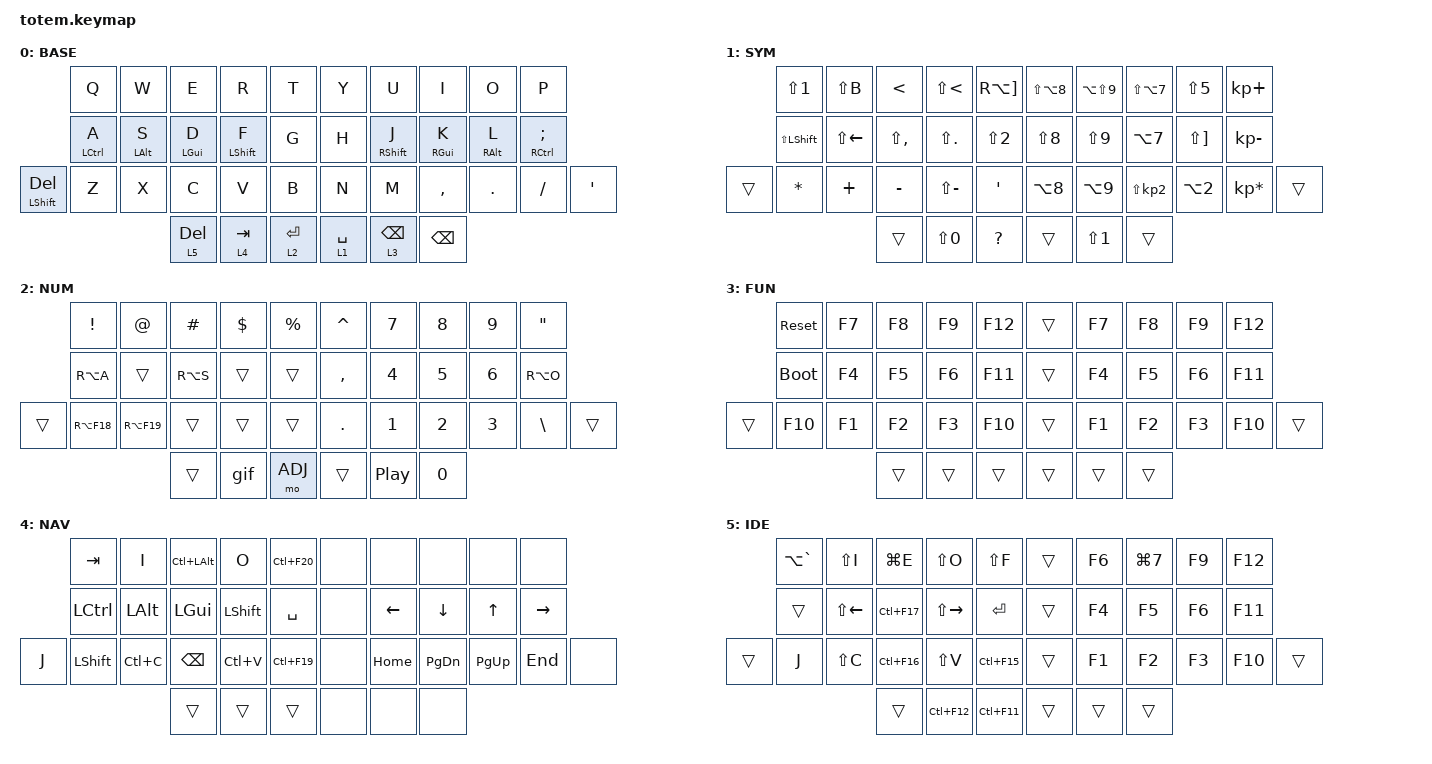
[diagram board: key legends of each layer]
//
//                                                        ▀▀▀▀▀     ▀▀▀▀▀          ▀▀█▀▀
//                                                        ▄▀▀▀▄  ▄  ▄▀▀▀▄  ▄  ▄▀▀▀▄  █  ▄▀▀▀▄
//                                                        █   █  █  █   █  █  █   █  █  █   █
//                                                         ▀▀▀   █   ▀▀▀   █   ▀▀▀   ▀   ▀▀▀
//                                                               █      ▄▄▄█▄▄▄    █   █  
//                                                               ▀      █  █  █     █▄█
//                                                             ▀▀▀▀▀    █  █  █      ▀
//                                                                      ▀  ▀  ▀
//
// ▄▄▄▄▄▄▄▄▄▄▄▄▄▄▄▄▄▄▄▄▄▄▄▄▄▄▄▄▄▄▄▄▄▄▄▄▄▄▄▄▄▄▄▄▄▄▄▄▄▄▄▄▄▄▄▄▄▄▄▄▄▄▄▄▄▄▄▄▄▄▄▄▄▄▄▄▄▄▄▄▄▄▄▄▄▄▄▄▄▄▄▄▄▄▄▄▄▄▄▄▄▄▄▄▄▄▄▄▄▄▄▄▄▄▄▄▄▄▄▄▄▄▄▄▄▄▄▄▄▄▄▄▄▄▄▄▄▄▄▄▄▄▄▄▄▄▄▄▄

#include <behaviors.dtsi>
#include <dt-bindings/zmk/keys.h>

#define BASE 0
#define NAV  1
#define SYM  2
#define ADJ  3
#define TVP1 4
#define TVP2 5

&mt {
    quick-tap-ms = <100>;
    global-quick-tap;
    flavor = "tap-preferred";
    tapping-term-ms = <170>;
};

/ {
    combos {
        compatible = "zmk,combos";

        combo_esc {
            timeout-ms = <50>;
            key-positions = <1 3 2>;
            bindings = <&kp ESC>;
        };

        combo_tvp {
            timeout-ms = <100>;
            key-positions = <11 12 13 27 26>;
            bindings = <&kp ENTER>;
        };
    };

    macros {
        gif: gif {
            label = "giphy";
            compatible = "zmk,behavior-macro";
            #binding-cells = <0>;
            bindings =
                <&macro_press>,
                <&kp LSHFT>,
                <&macro_tap>,
                <&kp N2>,
                <&macro_release>,
                <&kp LSHFT>,
                <&macro_tap>,
                <&kp G &kp I &kp F>;
        };
    };

    keymap {
        compatible = "zmk,keymap";

        // ▄▄▄▄▄▄▄▄▄▄▄▄▄▄▄▄▄▄▄▄▄▄▄▄▄▄▄▄▄▄▄▄▄▄▄▄▄▄▄▄▄▄▄▄▄▄▄▄▄▄▄▄▄▄▄▄▄▄▄▄▄▄▄▄▄▄▄▄▄▄▄▄▄▄▄▄▄▄▄▄▄▄▄▄▄▄▄▄▄▄▄▄▄▄▄▄▄▄▄▄▄▄▄▄▄▄▄▄▄▄▄▄▄▄▄▄▄▄▄▄▄▄▄▄▄▄▄▄▄▄▄▄▄▄▄▄▄▄▄▄▄▄▄▄▄▄▄▄▄

        base_layer {
            // ┏━━━━━━━━━━━━━━━━━━━━━━━━━━━━━━━━━━━━━━━┓

            label = "BASE";

            // ┗━━━━━━━━━━━━━━━━━━━━━━━━━━━━━━━━━━━━━━━┛
            //             ┏━━━━━━━━━━━┳━━━━━━━━━━━┳━━━━━━━━━━━┳━━━━━━━━━━━┳━━━━━━━━━━━┓   ┏━━━━━━━━━━━┳━━━━━━━━━━━┳━━━━━━━━━━━┳━━━━━━━━━━━┳━━━━━━━━━━━┓
            //             ┃     Q     ┃     W     ┃     F     ┃     P     ┃     G     ┃   ┃     J     ┃     L     ┃     U     ┃     Y     ┃     ;     ┃
            //             ┣━━━━━━━━━━━╋━━━━━━━━━━━╋━━━━━━━━━━━╋━━━━━━━━━━━╋━━━━━━━━━━━┫   ┣━━━━━━━━━━━╋━━━━━━━━━━━╋━━━━━━━━━━━╋━━━━━━━━━━━╋━━━━━━━━━━━┫
            //             ┃     A     ┃     R     ┃     S     ┃     T     ┃     D     ┃   ┃     H     ┃     N     ┃     E     ┃     I     ┃     O     ┃
            // ┏━━━━━━━━━━━╋━━━━━━━━━━━╋━━━━━━━━━━━╋━━━━━━━━━━━╋━━━━━━━━━━━╋━━━━━━━━━━━┫   ┣━━━━━━━━━━━╋━━━━━━━━━━━╋━━━━━━━━━━━╋━━━━━━━━━━━╋━━━━━━━━━━━╋━━━━━━━━━━━┓
            // ┃     Q     ┃     Z     ┃     X     ┃     C     ┃     V     ┃     B     ┃   ┃     K     ┃     M     ┃     ,     ┃     .     ┃     /     ┃     \     ┃
            // ┗━━━━━━━━━━━┻━━━━━━━━━━━┻━━━━━━━━━━━╋━━━━━━━━━━━╋━━━━━━━━━━━╋━━━━━━━━━━━┫   ┣━━━━━━━━━━━╋━━━━━━━━━━━╋━━━━━━━━━━━╋━━━━━━━━━━━┻━━━━━━━━━━━┻━━━━━━━━━━━┛
            //                                     ┃    DEL    ┃    TAB    ┃    SPC    ┃   ┃   ENTER   ┃           ┃   BSPC    ┃
            //                                     ┗━━━━━━━━━━━┻━━━━━━━━━━━┻━━━━━━━━━━━┛   ┗━━━━━━━━━━━┻━━━━━━━━━━━┻━━━━━━━━━━━┛

            bindings = <
                       &kp Q        &kp W       &kp E           &kp R        &kp T          &kp Y        &kp U            &kp I            &kp O       &kp P
                       &mt LCTRL A  &mt LALT S  &mt LEFT_GUI D  &mt LSHFT F  &kp G          &kp H        &mt RSHFT J      &mt RIGHT_GUI K  &mt RALT L  &mt RCTRL SEMI
&mt LEFT_SHIFT DELETE  &kp Z        &kp X       &kp C           &kp V        &kp B          &kp N        &kp M            &kp COMMA        &kp DOT     &kp FSLH        &kp APOSTROPHE
                                                &lt 5 DELETE    &lt 4 TAB    &lt 2 ENTER    &lt 1 SPACE  &lt 3 BACKSPACE  &kp BSPC
            >;
        };

        // ▄▄▄▄▄▄▄▄▄▄▄▄▄▄▄▄▄▄▄▄▄▄▄▄▄▄▄▄▄▄▄▄▄▄▄▄▄▄▄▄▄▄▄▄▄▄▄▄▄▄▄▄▄▄▄▄▄▄▄▄▄▄▄▄▄▄▄▄▄▄▄▄▄▄▄▄▄▄▄▄▄▄▄▄▄▄▄▄▄▄▄▄▄▄▄▄▄▄▄▄▄▄▄▄▄▄▄▄▄▄▄▄▄▄▄▄▄▄▄▄▄▄▄▄▄▄▄▄▄▄▄▄▄▄▄▄▄▄▄▄▄▄▄▄▄▄▄▄▄

        sym {
            // ┏━━━━━━━━━━━━━━━━━━━━━━━━━━━━━━━━━━━━━━━┓

            label = "SYM";

            // ┗━━━━━━━━━━━━━━━━━━━━━━━━━━━━━━━━━━━━━━━┛
            //             ┏━━━━━━━━━━━┳━━━━━━━━━━━┳━━━━━━━━━━━┳━━━━━━━━━━━┳━━━━━━━━━━━┓   ┏━━━━━━━━━━━┳━━━━━━━━━━━┳━━━━━━━━━━━┳━━━━━━━━━━━┳━━━━━━━━━━━┓
            //             ┃           ┃           ┃     UP    ┃           ┃     {     ┃   ┃     }     ┃     7     ┃     8     ┃     9     ┃     +     ┃
            //             ┣━━━━━━━━━━━╋━━━━━━━━━━━╋━━━━━━━━━━━╋━━━━━━━━━━━╋━━━━━━━━━━━┫   ┣━━━━━━━━━━━╋━━━━━━━━━━━╋━━━━━━━━━━━╋━━━━━━━━━━━╋━━━━━━━━━━━┫
            //             ┃   SHIFT   ┃   LEFT    ┃    DOWN   ┃   RIGHT   ┃     [     ┃   ┃     ]     ┃     4     ┃     5     ┃     6     ┃     -     ┃
            // ┏━━━━━━━━━━━╋━━━━━━━━━━━╋━━━━━━━━━━━╋━━━━━━━━━━━╋━━━━━━━━━━━╋━━━━━━━━━━━┫   ┣━━━━━━━━━━━╋━━━━━━━━━━━╋━━━━━━━━━━━╋━━━━━━━━━━━╋━━━━━━━━━━━╋━━━━━━━━━━━┓
            // ┃           ┃           ┃   P UP    ┃  C LOCK   ┃  P DOWN   ┃     (     ┃   ┃     )     ┃     1     ┃     2     ┃     3     ┃     *     ┃           ┃
            // ┗━━━━━━━━━━━┻━━━━━━━━━━━┻━━━━━━━━━━━╋━━━━━━━━━━━╋━━━━━━━━━━━╋━━━━━━━━━━━┫   ┣━━━━━━━━━━━╋━━━━━━━━━━━╋━━━━━━━━━━━╋━━━━━━━━━━━┻━━━━━━━━━━━┻━━━━━━━━━━━┛
            //                                     ┃           ┃    TAB    ┃    SPC    ┃   ┃    DEL    ┃     0     ┃           ┃
            //                                     ┗━━━━━━━━━━━┻━━━━━━━━━━━┻━━━━━━━━━━━┛   ┗━━━━━━━━━━━┻━━━━━━━━━━━┻━━━━━━━━━━━┛

            bindings = <
        &kp LS(NUMBER_1)  &kp LS(B)     &kp LESS_THAN  &kp LS(LESS_THAN)  &kp RA(RIGHT_BRACKET)    &kp LS(LA(NUMBER_8))  &kp LA(LS(N9))    &kp LS(LA(N7))  &kp LS(N5)             &kp KP_PLUS
        &kp LS(LSHFT)     &kp LS(LEFT)  &kp LS(COMMA)  &kp LS(PERIOD)     &kp LS(NUMBER_2)         &kp LS(N8)            &kp LS(N9)        &kp LA(N7)      &kp LS(RIGHT_BRACKET)  &kp KP_MINUS
&trans  &kp STAR          &kp PLUS      &kp MINUS      &kp LS(MINUS)      &kp SQT                  &kp LA(N8)            &kp LA(N9)        &kp LS(KP_N2)   &kp LA(NUMBER_2)       &kp KP_MULTIPLY  &trans
                                        &trans         &kp LS(NUMBER_0)   &kp QMARK                &trans                &kp LS(NUMBER_1)  &trans
            >;
        };

        // ▄▄▄▄▄▄▄▄▄▄▄▄▄▄▄▄▄▄▄▄▄▄▄▄▄▄▄▄▄▄▄▄▄▄▄▄▄▄▄▄▄▄▄▄▄▄▄▄▄▄▄▄▄▄▄▄▄▄▄▄▄▄▄▄▄▄▄▄▄▄▄▄▄▄▄▄▄▄▄▄▄▄▄▄▄▄▄▄▄▄▄▄▄▄▄▄▄▄▄▄▄▄▄▄▄▄▄▄▄▄▄▄▄▄▄▄▄▄▄▄▄▄▄▄▄▄▄▄▄▄▄▄▄▄▄▄▄▄▄▄▄▄▄▄▄▄▄▄▄

        num {
            // ┏━━━━━━━━━━━━━━━━━━━━━━━━━━━━━━━━━━━━━━━┓

            label = "NUM";

            // ┗━━━━━━━━━━━━━━━━━━━━━━━━━━━━━━━━━━━━━━━┛
            //             ┏━━━━━━━━━━━┳━━━━━━━━━━━┳━━━━━━━━━━━┳━━━━━━━━━━━┳━━━━━━━━━━━┓   ┏━━━━━━━━━━━┳━━━━━━━━━━━┳━━━━━━━━━━━┳━━━━━━━━━━━┳━━━━━━━━━━━┓
            //             ┃     !     ┃     @     ┃     #     ┃     $     ┃     %     ┃   ┃     ˆ     ┃     &     ┃     Ü     ┃     '     ┃     "     ┃
            //             ┣━━━━━━━━━━━╋━━━━━━━━━━━╋━━━━━━━━━━━╋━━━━━━━━━━━╋━━━━━━━━━━━┫   ┣━━━━━━━━━━━╋━━━━━━━━━━━╋━━━━━━━━━━━╋━━━━━━━━━━━╋━━━━━━━━━━━┫
            //             ┃     Ä     ┃           ┃    SZ     ┃           ┃           ┃   ┃   MUTE    ┃   YEN     ┃   EURO    ┃  POUND    ┃     Ö     ┃
            // ┏━━━━━━━━━━━╋━━━━━━━━━━━╋━━━━━━━━━━━╋━━━━━━━━━━━╋━━━━━━━━━━━╋━━━━━━━━━━━┫   ┣━━━━━━━━━━━╋━━━━━━━━━━━╋━━━━━━━━━━━╋━━━━━━━━━━━╋━━━━━━━━━━━╋━━━━━━━━━━━┓
            // ┃           ┃  EMAIL1   ┃  EMAIL2   ┃           ┃           ┃           ┃   ┃   VOL-    ┃   VOL+    ┃   LAST    ┃   NEXT    ┃     \     ┃           ┃
            // ┗━━━━━━━━━━━┻━━━━━━━━━━━┻━━━━━━━━━━━╋━━━━━━━━━━━╋━━━━━━━━━━━╋━━━━━━━━━━━┫   ┣━━━━━━━━━━━╋━━━━━━━━━━━╋━━━━━━━━━━━╋━━━━━━━━━━━┻━━━━━━━━━━━┻━━━━━━━━━━━┛
            //                                     ┃           ┃    GIF    ┃    ADJ    ┃   ┃           ┃           ┃           ┃
            //                                     ┗━━━━━━━━━━━┻━━━━━━━━━━━┻━━━━━━━━━━━┛   ┗━━━━━━━━━━━┻━━━━━━━━━━━┻━━━━━━━━━━━┛

            bindings = <
        &kp EXCL     &kp AT       &kp HASH   &kp DLLR  &kp PRCNT    &kp CARET   &kp NUMBER_7  &kp NUMBER_8  &kp N9        &kp DQT
        &kp RA(A)    &trans       &kp RA(S)  &trans    &trans       &kp COMMA   &kp NUMBER_4  &kp NUMBER_5  &kp NUMBER_6  &kp RA(O)
&trans  &kp RA(F18)  &kp RA(F19)  &trans     &trans    &trans       &kp PERIOD  &kp NUMBER_1  &kp NUMBER_2  &kp NUMBER_3  &kp BSLH   &trans
                                  &trans     &gif      &mo ADJ      &trans      &kp C_PP      &kp NUMBER_0
            >;
        };

        // ▄▄▄▄▄▄▄▄▄▄▄▄▄▄▄▄▄▄▄▄▄▄▄▄▄▄▄▄▄▄▄▄▄▄▄▄▄▄▄▄▄▄▄▄▄▄▄▄▄▄▄▄▄▄▄▄▄▄▄▄▄▄▄▄▄▄▄▄▄▄▄▄▄▄▄▄▄▄▄▄▄▄▄▄▄▄▄▄▄▄▄▄▄▄▄▄▄▄▄▄▄▄▄▄▄▄▄▄▄▄▄▄▄▄▄▄▄▄▄▄▄▄▄▄▄▄▄▄▄▄▄▄▄▄▄▄▄▄▄▄▄▄▄▄▄▄▄▄▄

        fun {
            // ┏━━━━━━━━━━━━━━━━━━━━━━━━━━━━━━━━━━━━━━━┓

            label = "FUN";

            // ┗━━━━━━━━━━━━━━━━━━━━━━━━━━━━━━━━━━━━━━━┛
            //             ┏━━━━━━━━━━━┳━━━━━━━━━━━┳━━━━━━━━━━━┳━━━━━━━━━━━┳━━━━━━━━━━━┓   ┏━━━━━━━━━━━┳━━━━━━━━━━━┳━━━━━━━━━━━┳━━━━━━━━━━━┳━━━━━━━━━━━┓
            //             ┃   RESET   ┃ BT CLEAR  ┃  OUT TOG  ┃           ┃           ┃   ┃           ┃    F7     ┃    F8     ┃    F9     ┃    F12    ┃
            //             ┣━━━━━━━━━━━╋━━━━━━━━━━━╋━━━━━━━━━━━╋━━━━━━━━━━━╋━━━━━━━━━━━┫   ┣━━━━━━━━━━━╋━━━━━━━━━━━╋━━━━━━━━━━━╋━━━━━━━━━━━╋━━━━━━━━━━━┫
            //             ┃ BOOTLOAD  ┃ BT NEXT   ┃           ┃           ┃           ┃   ┃           ┃    F4     ┃    F5     ┃    F6     ┃    F11    ┃
            // ┏━━━━━━━━━━━╋━━━━━━━━━━━╋━━━━━━━━━━━╋━━━━━━━━━━━╋━━━━━━━━━━━╋━━━━━━━━━━━┫   ┣━━━━━━━━━━━╋━━━━━━━━━━━╋━━━━━━━━━━━╋━━━━━━━━━━━╋━━━━━━━━━━━╋━━━━━━━━━━━┓
            // ┃           ┃           ┃ BT PREV   ┃           ┃           ┃           ┃   ┃           ┃    F1     ┃    F2     ┃    F3     ┃    F10    ┃           ┃
            // ┗━━━━━━━━━━━┻━━━━━━━━━━━┻━━━━━━━━━━━╋━━━━━━━━━━━╋━━━━━━━━━━━╋━━━━━━━━━━━┫   ┣━━━━━━━━━━━╋━━━━━━━━━━━╋━━━━━━━━━━━╋━━━━━━━━━━━┻━━━━━━━━━━━┻━━━━━━━━━━━┛
            //                                     ┃           ┃           ┃           ┃   ┃           ┃           ┃           ┃
            //                                     ┗━━━━━━━━━━━┻━━━━━━━━━━━┻━━━━━━━━━━━┛   ┗━━━━━━━━━━━┻━━━━━━━━━━━┻━━━━━━━━━━━┛

            bindings = <
        &sys_reset   &kp F7  &kp F8  &kp F9  &kp F12    &trans  &kp F7  &kp F8  &kp F9  &kp F12
        &bootloader  &kp F4  &kp F5  &kp F6  &kp F11    &trans  &kp F4  &kp F5  &kp F6  &kp F11
&trans  &kp F10      &kp F1  &kp F2  &kp F3  &kp F10    &trans  &kp F1  &kp F2  &kp F3  &kp F10  &trans
                             &trans  &trans  &trans     &trans  &trans  &trans
            >;
        };

        // ▄▄▄▄▄▄▄▄▄▄▄▄▄▄▄▄▄▄▄▄▄▄▄▄▄▄▄▄▄▄▄▄▄▄▄▄▄▄▄▄▄▄▄▄▄▄▄▄▄▄▄▄▄▄▄▄▄▄▄▄▄▄▄▄▄▄▄▄▄▄▄▄▄▄▄▄▄▄▄▄▄▄▄▄▄▄▄▄▄▄▄▄▄▄▄▄▄▄▄▄▄▄▄▄▄▄▄▄▄▄▄▄▄▄▄▄▄▄▄▄▄▄▄▄▄▄▄▄▄▄▄▄▄▄▄▄▄▄▄▄▄▄▄▄▄▄▄▄▄

        nav {
            // ┏━━━━━━━━━━━━━━━━━━━━━━━━━━━━━━━━━━━━━━━┓

            label = "NAV";

            // ┗━━━━━━━━━━━━━━━━━━━━━━━━━━━━━━━━━━━━━━━┛
            //             ┏━━━━━━━━━━━┳━━━━━━━━━━━┳━━━━━━━━━━━┳━━━━━━━━━━━┳━━━━━━━━━━━┓   ┏━━━━━━━━━━━┳━━━━━━━━━━━┳━━━━━━━━━━━┳━━━━━━━━━━━┳━━━━━━━━━━━┓
            //             ┃ NEXT FILE ┃ MARK IN   ┃ ROTATE    ┃ MARK OUT  ┃ SHOW SNAP ┃   ┃           ┃           ┃           ┃           ┃           ┃
            //             ┣━━━━━━━━━━━╋━━━━━━━━━━━╋━━━━━━━━━━━╋━━━━━━━━━━━╋━━━━━━━━━━━┫   ┣━━━━━━━━━━━╋━━━━━━━━━━━╋━━━━━━━━━━━╋━━━━━━━━━━━╋━━━━━━━━━━━┫
            //             ┃ TVP II    ┃ LEFT      ┃ PAN       ┃ RIGHT     ┃ PLAY/FLIP ┃   ┃           ┃           ┃           ┃           ┃           ┃
            // ┏━━━━━━━━━━━╋━━━━━━━━━━━╋━━━━━━━━━━━╋━━━━━━━━━━━╋━━━━━━━━━━━╋━━━━━━━━━━━┫   ┣━━━━━━━━━━━╋━━━━━━━━━━━╋━━━━━━━━━━━╋━━━━━━━━━━━╋━━━━━━━━━━━╋━━━━━━━━━━━┓
            // ┃ FULLSCR   ┃ SHIFT     ┃ COPY      ┃ DELETE    ┃ PASTE     ┃ IMG MARK  ┃   ┃           ┃           ┃           ┃           ┃           ┃           ┃
            // ┗━━━━━━━━━━━┻━━━━━━━━━━━┻━━━━━━━━━━━╋━━━━━━━━━━━╋━━━━━━━━━━━╋━━━━━━━━━━━┫   ┣━━━━━━━━━━━╋━━━━━━━━━━━╋━━━━━━━━━━━╋━━━━━━━━━━━┻━━━━━━━━━━━┻━━━━━━━━━━━┛
            //                                     ┃           ┃ UNDO/SAVE ┃  SEL/MOV  ┃   ┃           ┃           ┃           ┃
            //                                     ┗━━━━━━━━━━━┻━━━━━━━━━━━┻━━━━━━━━━━━┛   ┗━━━━━━━━━━━┻━━━━━━━━━━━┻━━━━━━━━━━━┛

            bindings = <
       &kp TAB    &kp I         &kp LC(LALT)  &kp O           &kp LC(F20)    &none  &none     &none          &none         &none
       &kp LCTRL  &kp LEFT_ALT  &kp LEFT_GUI  &kp LEFT_SHIFT  &kp SPACE      &none  &kp LEFT  &kp DOWN       &kp UP_ARROW  &kp RIGHT
&kp J  &kp LSHFT  &kp LC(C)     &kp BSPC      &kp LC(V)       &kp LC(F19)    &none  &kp HOME  &kp PAGE_DOWN  &kp PAGE_UP   &kp END    &none
                                &trans        &trans          &trans         &none  &none     &none
            >;
        };

        // ▄▄▄▄▄▄▄▄▄▄▄▄▄▄▄▄▄▄▄▄▄▄▄▄▄▄▄▄▄▄▄▄▄▄▄▄▄▄▄▄▄▄▄▄▄▄▄▄▄▄▄▄▄▄▄▄▄▄▄▄▄▄▄▄▄▄▄▄▄▄▄▄▄▄▄▄▄▄▄▄▄▄▄▄▄▄▄▄▄▄▄▄▄▄▄▄▄▄▄▄▄▄▄▄▄▄▄▄▄▄▄▄▄▄▄▄▄▄▄▄▄▄▄▄▄▄▄▄▄▄▄▄▄▄▄▄▄▄▄▄▄▄▄▄▄▄▄▄▄

        shortcut {
            // ┏━━━━━━━━━━━━━━━━━━━━━━━━━━━━━━━━━━━━━━━┓

            label = "IDE";

            // ┗━━━━━━━━━━━━━━━━━━━━━━━━━━━━━━━━━━━━━━━┛
            //             ┏━━━━━━━━━━━┳━━━━━━━━━━━┳━━━━━━━━━━━┳━━━━━━━━━━━┳━━━━━━━━━━━┓   ┏━━━━━━━━━━━┳━━━━━━━━━━━┳━━━━━━━━━━━┳━━━━━━━━━━━┳━━━━━━━━━━━┓
            //             ┃ SOLO      ┃ TOGGLE IN ┃ RESET ROT ┃ TOGGLE OUT┃ TAKE SNAP ┃   ┃           ┃           ┃           ┃           ┃           ┃
            //             ┣━━━━━━━━━━━╋━━━━━━━━━━━╋━━━━━━━━━━━╋━━━━━━━━━━━╋━━━━━━━━━━━┫   ┣━━━━━━━━━━━╋━━━━━━━━━━━╋━━━━━━━━━━━╋━━━━━━━━━━━╋━━━━━━━━━━━┫
            //             ┃ ---       ┃ LAST KEY  ┃ NEW KEY   ┃ NEXT KEY  ┃ ENTER     ┃   ┃           ┃           ┃           ┃           ┃           ┃
            // ┏━━━━━━━━━━━╋━━━━━━━━━━━╋━━━━━━━━━━━╋━━━━━━━━━━━╋━━━━━━━━━━━╋━━━━━━━━━━━┫   ┣━━━━━━━━━━━╋━━━━━━━━━━━╋━━━━━━━━━━━╋━━━━━━━━━━━╋━━━━━━━━━━━╋━━━━━━━━━━━┓
            // ┃           ┃ FULLSCR   ┃ CPY2BRUSH ┃ DEL HEAD  ┃ PSTinPLACE┃ BOOK MARK ┃   ┃           ┃           ┃           ┃           ┃           ┃           ┃
            // ┗━━━━━━━━━━━┻━━━━━━━━━━━┻━━━━━━━━━━━╋━━━━━━━━━━━╋━━━━━━━━━━━╋━━━━━━━━━━━┫   ┣━━━━━━━━━━━╋━━━━━━━━━━━╋━━━━━━━━━━━╋━━━━━━━━━━━┻━━━━━━━━━━━┻━━━━━━━━━━━┛
            //                                     ┃           ┃ REDO/SAV1 ┃TRANS/WARP ┃   ┃           ┃           ┃           ┃
            //                                     ┗━━━━━━━━━━━┻━━━━━━━━━━━┻━━━━━━━━━━━┛   ┗━━━━━━━━━━━┻━━━━━━━━━━━┻━━━━━━━━━━━┛

            bindings = <
        &kp LA(GRAVE)  &kp LS(I)     &kp LG(E)    &kp LS(O)      &kp LS(F)      &trans  &kp F6  &kp LG(NUMBER_7)  &kp F9  &kp F12
        &trans         &kp LS(LEFT)  &kp LC(F17)  &kp LS(RIGHT)  &kp RET        &trans  &kp F4  &kp F5            &kp F6  &kp F11
&trans  &kp J          &kp LS(C)     &kp LC(F16)  &kp LS(V)      &kp LC(F15)    &trans  &kp F1  &kp F2            &kp F3  &kp F10  &trans
                                     &trans       &kp LC(F12)    &kp LC(F11)    &trans  &trans  &trans
            >;
        };
    };
};
